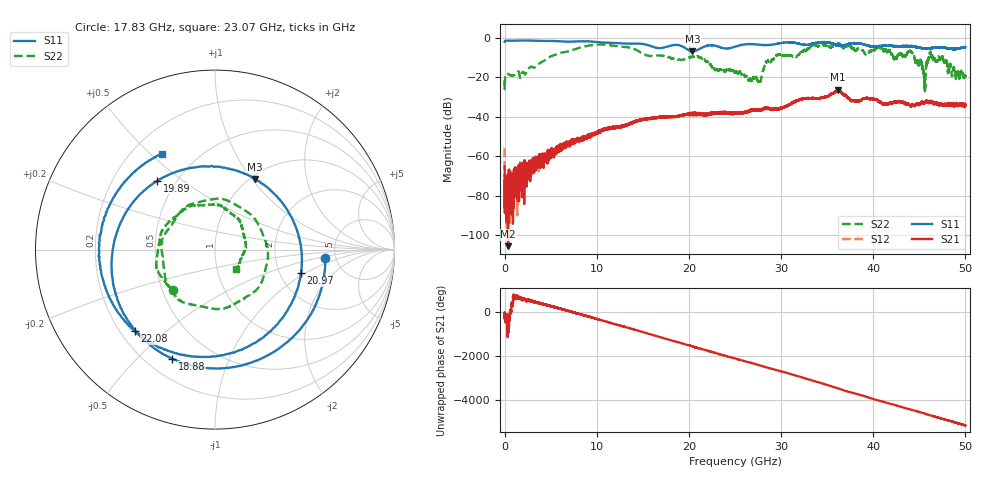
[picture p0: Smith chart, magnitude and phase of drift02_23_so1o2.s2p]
!Created with skrf (http://scikit-rf.org).
# Hz S RI R 50.0
!freq ReS11 ImS11 ReS21 ImS21 ReS12 ImS12 ReS22 ImS22
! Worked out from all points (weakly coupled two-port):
!   10001 points, 300 kHz to 50 GHz, reference 50 ohm
!   highest |S21| = -26.21 dB at 36.13 GHz (marker M1); lowest = -105.6 dB at 380.3 MHz (marker M2)
!   lowest |S11| = -6.9 dB at 20.39 GHz (marker M3), VSWR 2.64, Z = 52.2 + j51.6 ohm
!   |S11| at or under -10 dB: nowhere
!   |S22| runs from -27.1 to -2.7 dB; largest |S21 - S12| = 0.0057
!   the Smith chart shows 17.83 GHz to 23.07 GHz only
!   S11 on the Smith chart (normalised r, x): 17.83 GHz: 4.11, -0.61; 18.88 GHz: 0.30, -0.64; 19.89 GHz: 0.40, +0.41; 20.97 GHz: 2.61, -0.92; 22.08 GHz: 0.26, -0.40; 23.07 GHz: 0.32, +0.54
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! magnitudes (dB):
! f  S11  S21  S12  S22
! 300 kHz  -2.0  -65.2  -56.0  -21.6
! 250.3 MHz  -1.4  -86.3  -76.4  -18.2
! 380.3 MHz  -1.4  -105.6  -77.1  -18.3
! 8.335 GHz  -1.7  -51.3  -50.1  -4.8
! 16.67 GHz  -5.2  -40.2  -40.3  -9.0
! 17.83 GHz  -4.2  -40.1  -40.0  -9.7
! 18.88 GHz  -3.7  -39.7  -39.8  -11.0
! 19.89 GHz  -6.0  -38.5  -38.7  -9.9
! 20.39 GHz  -6.9  -38.3  -38.5  -9.7
! 20.97 GHz  -6.1  -38.5  -38.5  -9.3
! 22.08 GHz  -3.9  -38.3  -38.7  -12.6
! 23.07 GHz  -4.3  -37.8  -38.1  -15.9
! 25 GHz  -4.5  -38.4  -38.4  -17.5
! 27.62 GHz  -3.5  -36.6  -36.7  -21.9
! 28.5 GHz  -3.7  -35.6  -35.7  -12.2
! 33.34 GHz  -3.0  -30.5  -30.5  -3.8
! 36.13 GHz  -3.9  -26.2  -27.0  -3.3
! 41.67 GHz  -3.9  -33.2  -33.4  -6.3
! 44.12 GHz  -4.2  -34.6  -34.6  -7.2
! 45.5 GHz  -5.4  -32.8  -33.1  -19.1
! 46.27 GHz  -5.3  -32.4  -32.3  -9.2
! 50 GHz  -4.8  -33.4  -34.2  -19.3
